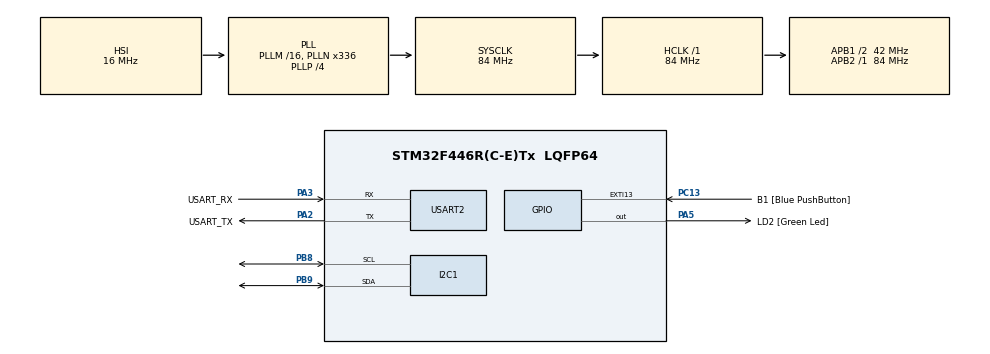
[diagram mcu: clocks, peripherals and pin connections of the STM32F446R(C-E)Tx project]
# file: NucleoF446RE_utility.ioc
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Mcu.Family=STM32F4
Mcu.Name=STM32F446R(C-E)Tx
Mcu.Package=LQFP64
NVIC.PriorityGroup=NVIC_PRIORITYGROUP_0
PA13.GPIO_Label=TMS
PA13.Mode=Serial_Wire
PA13.Signal=SYS_JTMS-SWDIO
PA14.GPIO_Label=TCK
PA14.Mode=Serial_Wire
PA14.Signal=SYS_JTCK-SWCLK
PA2.GPIO_Label=USART_TX
PA2.Mode=Asynchronous
PA2.Signal=USART2_TX
PA3.GPIO_Label=USART_RX
PA3.Mode=Asynchronous
PA3.Signal=USART2_RX
PA5.GPIO_Label=LD2 [Green Led]
PA5.Signal=GPIO_Output
PB3.GPIO_Label=SWO
PB3.Signal=SYS_JTDO-SWO
PB8.Mode=I2C
PB8.Signal=I2C1_SCL
PB9.Mode=I2C
PB9.Signal=I2C1_SDA
PC13.GPIO_Label=B1 [Blue PushButton]
PC13.GPIO_ModeDefaultEXTI=GPIO_MODE_IT_FALLING
PC13.Signal=GPXTI13
PC14-OSC32_IN.Mode=LSE-External-Oscillator
PC14-OSC32_IN.Signal=RCC_OSC32_IN
PC15-OSC32_OUT.Mode=LSE-External-Oscillator
PC15-OSC32_OUT.Signal=RCC_OSC32_OUT
PH0-OSC_IN.Mode=HSE-External-Oscillator
PH0-OSC_IN.Signal=RCC_OSC_IN
PH1-OSC_OUT.Mode=HSE-External-Oscillator
PH1-OSC_OUT.Signal=RCC_OSC_OUT
ProjectManager.HeapSize=0x200
ProjectManager.StackSize=0x400
ProjectManager.TargetToolchain=STM32CubeIDE
RCC.48MHZClocksFreq_Value=84000000
RCC.AHBFreq_Value=84000000
RCC.APB1CLKDivider=RCC_HCLK_DIV2
RCC.APB1Freq_Value=42000000
RCC.APB1TimFreq_Value=84000000
RCC.APB2Freq_Value=84000000
RCC.APB2TimFreq_Value=84000000
RCC.CortexFreq_Value=84000000
RCC.FLatency-AdvancedSettings=FLASH_LATENCY_2
RCC.HCLKFreq_Value=84000000
RCC.HSE_VALUE=8000000
RCC.HSI_VALUE=16000000
RCC.PLLN=336
RCC.PLLP=RCC_PLLP_DIV4
RCC.SYSCLKFreq_VALUE=84000000
RCC.SYSCLKSource=RCC_SYSCLKSOURCE_PLLCLK
RCC.USBFreq_Value=168000000
RCC.VCOOutputFreq_Value=336000000
USART2.VirtualMode=VM_ASYNC
board=NUCLEO-F446RE

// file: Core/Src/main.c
/* USER CODE BEGIN Header */
/**
  ******************************************************************************
  * @file           : main.c
  * @brief          : Main program body
  ******************************************************************************
  * @attention
  *
  * Copyright (c) 2024 STMicroelectronics.
  * All rights reserved.
  *
  * This software is licensed under terms that can be found in the LICENSE file
  * in the root directory of this software component.
  * If no LICENSE file comes with this software, it is provided AS-IS.
  *
  ******************************************************************************
  */
/* USER CODE END Header */
#include "main.h"

/* USER CODE BEGIN Includes */
#include <stdio.h>
#include <string.h>
#include <stdlib.h>

#include "aqm1602.h"
/* USER CODE END Includes */

I2C_HandleTypeDef hi2c1;

UART_HandleTypeDef huart2;

void SystemClock_Config(void);
static void MX_GPIO_Init(void);
static void MX_USART2_UART_Init(void);
static void MX_I2C1_Init(void);

int main(void)
{

  /* MCU Configuration--------------------------------------------------------*/

  /* Reset of all peripherals, Initializes the Flash interface and the Systick. */
  HAL_Init();

  /* Configure the system clock */
  SystemClock_Config();

  /* Initialize all configured peripherals */
  MX_GPIO_Init();
  MX_USART2_UART_Init();
  MX_I2C1_Init();
  /* USER CODE BEGIN 2 */

    aqm1602_init(40);
  aqm1602_print("Hello STM32");
  aqm1602_pos(1, 0);
  aqm1602_print("AQM1602");

  /* USER CODE END 2 */

  /* Infinite loop */
  /* USER CODE BEGIN WHILE */
  	  uint16_t cnt = 0;
  while (1)
  {
    /* USER CODE END WHILE */

    /* USER CODE BEGIN 3 */
        HAL_GPIO_TogglePin(LD2_GPIO_Port, LD2_Pin);
        char strBuffer[17] = {0};
        sprintf(strBuffer, "CNT=%05d", cnt);
        aqm1602_pos(1, 0);
        aqm1602_print(strBuffer);
        cnt++;
        HAL_Delay(100);
  }
  /* USER CODE END 3 */
}

void SystemClock_Config(void)
{
  RCC_OscInitTypeDef RCC_OscInitStruct = {0};
  RCC_ClkInitTypeDef RCC_ClkInitStruct = {0};

  /** Configure the main internal regulator output voltage
  */
  __HAL_RCC_PWR_CLK_ENABLE();
  __HAL_PWR_VOLTAGESCALING_CONFIG(PWR_REGULATOR_VOLTAGE_SCALE3);

  /** Initializes the RCC Oscillators according to the specified parameters
  * in the RCC_OscInitTypeDef structure.
  */
  RCC_OscInitStruct.OscillatorType = RCC_OSCILLATORTYPE_HSI;
  RCC_OscInitStruct.HSIState = RCC_HSI_ON;
  RCC_OscInitStruct.HSICalibrationValue = RCC_HSICALIBRATION_DEFAULT;
  RCC_OscInitStruct.PLL.PLLState = RCC_PLL_ON;
  RCC_OscInitStruct.PLL.PLLSource = RCC_PLLSOURCE_HSI;
  RCC_OscInitStruct.PLL.PLLM = 16;
  RCC_OscInitStruct.PLL.PLLN = 336;
  RCC_OscInitStruct.PLL.PLLP = RCC_PLLP_DIV4;
  RCC_OscInitStruct.PLL.PLLQ = 2;
  RCC_OscInitStruct.PLL.PLLR = 2;
  if (HAL_RCC_OscConfig(&RCC_OscInitStruct) != HAL_OK)
  {
    Error_Handler();
  }

  /** Initializes the CPU, AHB and APB buses clocks
  */
  RCC_ClkInitStruct.ClockType = RCC_CLOCKTYPE_HCLK|RCC_CLOCKTYPE_SYSCLK
                              |RCC_CLOCKTYPE_PCLK1|RCC_CLOCKTYPE_PCLK2;
  RCC_ClkInitStruct.SYSCLKSource = RCC_SYSCLKSOURCE_PLLCLK;
  RCC_ClkInitStruct.AHBCLKDivider = RCC_SYSCLK_DIV1;
  RCC_ClkInitStruct.APB1CLKDivider = RCC_HCLK_DIV2;
  RCC_ClkInitStruct.APB2CLKDivider = RCC_HCLK_DIV1;

  if (HAL_RCC_ClockConfig(&RCC_ClkInitStruct, FLASH_LATENCY_2) != HAL_OK)
  {
    Error_Handler();
  }
}

static void MX_I2C1_Init(void)
{

  hi2c1.Instance = I2C1;
  hi2c1.Init.ClockSpeed = 100000;
  hi2c1.Init.DutyCycle = I2C_DUTYCYCLE_2;
  hi2c1.Init.OwnAddress1 = 0;
  hi2c1.Init.AddressingMode = I2C_ADDRESSINGMODE_7BIT;
  hi2c1.Init.DualAddressMode = I2C_DUALADDRESS_DISABLE;
  hi2c1.Init.OwnAddress2 = 0;
  hi2c1.Init.GeneralCallMode = I2C_GENERALCALL_DISABLE;
  hi2c1.Init.NoStretchMode = I2C_NOSTRETCH_DISABLE;
  if (HAL_I2C_Init(&hi2c1) != HAL_OK)
  {
    Error_Handler();
  }

}

static void MX_USART2_UART_Init(void)
{

  huart2.Instance = USART2;
  huart2.Init.BaudRate = 115200;
  huart2.Init.WordLength = UART_WORDLENGTH_8B;
  huart2.Init.StopBits = UART_STOPBITS_1;
  huart2.Init.Parity = UART_PARITY_NONE;
  huart2.Init.Mode = UART_MODE_TX_RX;
  huart2.Init.HwFlowCtl = UART_HWCONTROL_NONE;
  huart2.Init.OverSampling = UART_OVERSAMPLING_16;
  if (HAL_UART_Init(&huart2) != HAL_OK)
  {
    Error_Handler();
  }

}

static void MX_GPIO_Init(void)
{
  GPIO_InitTypeDef GPIO_InitStruct = {0};

  /* GPIO Ports Clock Enable */
  __HAL_RCC_GPIOC_CLK_ENABLE();
  __HAL_RCC_GPIOH_CLK_ENABLE();
  __HAL_RCC_GPIOA_CLK_ENABLE();
  __HAL_RCC_GPIOB_CLK_ENABLE();

  /*Configure GPIO pin Output Level */
  HAL_GPIO_WritePin(LD2_GPIO_Port, LD2_Pin, GPIO_PIN_RESET);

  /*Configure GPIO pin : B1_Pin */
  GPIO_InitStruct.Pin = B1_Pin;
  GPIO_InitStruct.Mode = GPIO_MODE_IT_FALLING;
  GPIO_InitStruct.Pull = GPIO_NOPULL;
  HAL_GPIO_Init(B1_GPIO_Port, &GPIO_InitStruct);

  /*Configure GPIO pin : LD2_Pin */
  GPIO_InitStruct.Pin = LD2_Pin;
  GPIO_InitStruct.Mode = GPIO_MODE_OUTPUT_PP;
  GPIO_InitStruct.Pull = GPIO_NOPULL;
  GPIO_InitStruct.Speed = GPIO_SPEED_FREQ_LOW;
  HAL_GPIO_Init(LD2_GPIO_Port, &GPIO_InitStruct);

}

void Error_Handler(void)
{
  __disable_irq();
  while (1)
  {
  }
}
